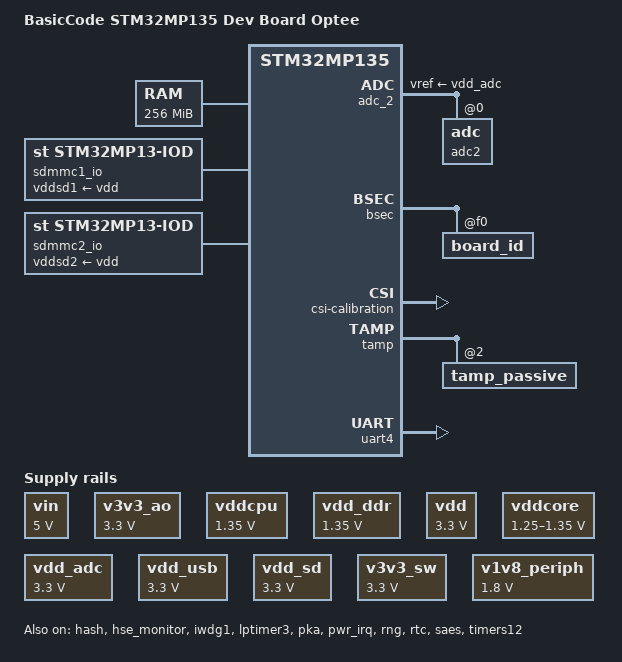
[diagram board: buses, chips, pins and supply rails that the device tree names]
// SPDX-License-Identifier: (GPL-2.0+ OR BSD-3-Clause)
/*
 * Copyright (C) STMicroelectronics 2021-2022 - All Rights Reserved
 * Author: Alexandre Torgue <alexandre.torgue@foss.st.com> for STMicroelectronics.
 */

/dts-v1/;

#include <dt-bindings/clock/stm32mp13-clksrc.h>
#include <dt-bindings/power/stm32mp1-power.h>
#include <dt-bindings/random/stm32mp-rng.h>
#include <dt-bindings/regulator/st,stm32mp13-regulator.h>
#include <dt-bindings/soc/stm32mp-tzc400-macro.h>
#include <dt-bindings/soc/stm32mp13-etzpc.h>
#include <dt-bindings/soc/stm32mp13-tzc400.h>
#include "stm32mp135.dtsi"
#include "stm32mp13xf.dtsi"
#include "stm32mp13-pinctrl.dtsi"

/ {
	model = "BasicCode STM32MP135 Dev Board Optee";
	compatible = "st,stm32mp135";

	aliases {
		serial0 = &uart4;
		serial1 = &usart1;
	};

	chosen {
		stdout-path = "serial0:115200n8";
	};

	magic_wol: magic_wol {
		compatible = "st,stm32mp1,pwr-irq-user";
		wakeup-parent = <&pwr_irq>;
		st,wakeup-pin-number = <2>;
		status = "okay";
	};

	memory@c0000000 {
		device_type = "memory";
		reg = <0xc0000000 0x10000000>;
	};

	reserved-memory {
		#address-cells = <1>;
		#size-cells = <1>;
		ranges;

		optee_framebuffer: optee-framebuffer@cd000000 {
			// Secure framebuffer memory
			reg = <0xcd000000 0x1000000>;
			st,protreg = <TZC_REGION_S_RDWR 0>;
		};
	};


    /*
     * Dummy regulators because no PMIC
     */
	
	sdmmc1_io: sdmmc1_io {
		compatible = "st,stm32mp13-iod";
		regulator-name = "sdmmc1_io";
		regulator-always-on;
	};

	sdmmc2_io: sdmmc2_io {
		compatible = "st,stm32mp13-iod";
		regulator-name = "sdmmc2_io";
		regulator-always-on;
	};

	vin: vin {
		compatible = "regulator-fixed";
		regulator-name = "vin";
		regulator-min-microvolt = <5000000>;
		regulator-max-microvolt = <5000000>;
		regulator-always-on;
	};

	v3v3_ao: v3v3_ao {
		compatible = "regulator-fixed";
		regulator-name = "v3v3_ao";
		regulator-min-microvolt = <3300000>;
		regulator-max-microvolt = <3300000>;
		regulator-always-on;
	};

    vddcpu: vddcpu {
        compatible = "regulator-fixed";
        regulator-name = "vddcpu";
        regulator-min-microvolt = <1350000>;
        regulator-max-microvolt = <1350000>;
        regulator-always-on;
    };

    vdd_ddr: vdd_ddr {
        compatible = "regulator-fixed";
        regulator-name = "vdd_ddr";
        regulator-min-microvolt = <1350000>;
        regulator-max-microvolt = <1350000>;
        regulator-always-on;
    };

    vdd: vdd {
        compatible = "regulator-fixed";
        regulator-name = "vdd";
        regulator-min-microvolt = <3300000>;
        regulator-max-microvolt = <3300000>;
        regulator-always-on;
    };

    vddcore: vddcore {
        compatible = "regulator-fixed";
        regulator-name = "vddcore";
        regulator-min-microvolt = <1250000>;
        regulator-max-microvolt = <1350000>;
        regulator-always-on;
    };

    vdd_adc: vdd_adc {
        compatible = "regulator-fixed";
        regulator-name = "vdd_adc";
        regulator-min-microvolt = <3300000>;
        regulator-max-microvolt = <3300000>;
        regulator-always-on;
    };

    vdd_usb: vdd_usb {
        compatible = "regulator-fixed";
        regulator-name = "vdd_usb";
        regulator-min-microvolt = <3300000>;
        regulator-max-microvolt = <3300000>;
        regulator-always-on;
    };

    vdd_sd: vdd_sd {
        compatible = "regulator-fixed";
        regulator-name = "vdd_sd";
        regulator-min-microvolt = <3300000>;
        regulator-max-microvolt = <3300000>;
        regulator-always-on;
    };

    v3v3_sw: v3v3_sw {
        compatible = "regulator-fixed";
        regulator-name = "v3v3_sw";
        regulator-min-microvolt = <3300000>;
        regulator-max-microvolt = <3300000>;
        regulator-always-on;
    };

    v1v8_periph: v1v8_periph {
        compatible = "regulator-fixed";
        regulator-name = "v1v8_periph";
        regulator-min-microvolt = <1800000>;
        regulator-max-microvolt = <1800000>;
        regulator-always-on;
    };

	typec_wakeup: typec_wakeup {
		compatible = "st,stm32mp1,pwr-irq-user";
		wakeup-parent = <&pwr_irq>;
		/* Alert pin on PI2, wakeup_pin_5 */
		st,wakeup-pin-number = <5>;
		st,notif-it-id = <1>;
		status = "okay";
	};
};


&adc_2 {
	vdda-supply = <&vdd_adc>;
	vref-supply = <&vdd_adc>;
	status = "okay";

	adc2: adc@0 {
		status = "okay";

		channel@15 {
			reg = <15>;
			label = "vbat";
		};
	};
};

&bsec {
	board_id: board_id@f0 {
		reg = <0xf0 0x4>;
		st,non-secure-otp;
	};
};

&cpu0 {
	cpu-supply = <&vddcpu>;
};

&etzpc {
	st,decprot = <
		DECPROT(STM32MP1_ETZPC_ADC1_ID, DECPROT_NS_RW, DECPROT_UNLOCK)
		DECPROT(STM32MP1_ETZPC_ADC2_ID, DECPROT_S_RW, DECPROT_UNLOCK)
		DECPROT(STM32MP1_ETZPC_BKPSRAM_ID, DECPROT_S_RW, DECPROT_UNLOCK)
		DECPROT(STM32MP1_ETZPC_CRYP_ID, DECPROT_NS_RW, DECPROT_UNLOCK)
		DECPROT(STM32MP1_ETZPC_DCMIPP_ID, DECPROT_NS_RW, DECPROT_UNLOCK)
		DECPROT(STM32MP1_ETZPC_DDRCTRLPHY_ID, DECPROT_NS_R_S_W, DECPROT_UNLOCK)
		DECPROT(STM32MP1_ETZPC_ETH1_ID, DECPROT_NS_RW, DECPROT_UNLOCK)
		DECPROT(STM32MP1_ETZPC_ETH2_ID, DECPROT_NS_RW, DECPROT_UNLOCK)
		DECPROT(STM32MP1_ETZPC_FMC_ID, DECPROT_NS_RW, DECPROT_UNLOCK)
		DECPROT(STM32MP1_ETZPC_HASH_ID, DECPROT_S_RW, DECPROT_UNLOCK)
		DECPROT(STM32MP1_ETZPC_I2C3_ID, DECPROT_NS_RW, DECPROT_UNLOCK)
		DECPROT(STM32MP1_ETZPC_I2C4_ID, DECPROT_S_RW, DECPROT_UNLOCK)
		DECPROT(STM32MP1_ETZPC_I2C5_ID, DECPROT_NS_RW, DECPROT_UNLOCK)
		DECPROT(STM32MP1_ETZPC_IWDG1_ID, DECPROT_S_RW, DECPROT_UNLOCK)
		DECPROT(STM32MP1_ETZPC_LPTIM2_ID, DECPROT_NS_RW, DECPROT_UNLOCK)
		DECPROT(STM32MP1_ETZPC_LPTIM3_ID, DECPROT_S_RW, DECPROT_UNLOCK)
		DECPROT(STM32MP1_ETZPC_LTDC_ID, DECPROT_NS_RW, DECPROT_UNLOCK)
		DECPROT(STM32MP1_ETZPC_MCE_ID, DECPROT_S_RW, DECPROT_UNLOCK)
		DECPROT(STM32MP1_ETZPC_OTG_ID, DECPROT_NS_RW, DECPROT_UNLOCK)
		DECPROT(STM32MP1_ETZPC_PKA_ID, DECPROT_S_RW, DECPROT_UNLOCK)
		DECPROT(STM32MP1_ETZPC_QSPI_ID, DECPROT_NS_RW, DECPROT_UNLOCK)
		DECPROT(STM32MP1_ETZPC_RNG_ID, DECPROT_S_RW, DECPROT_UNLOCK)
		DECPROT(STM32MP1_ETZPC_SAES_ID, DECPROT_S_RW, DECPROT_UNLOCK)
		DECPROT(STM32MP1_ETZPC_SDMMC1_ID, DECPROT_NS_RW, DECPROT_UNLOCK)
		DECPROT(STM32MP1_ETZPC_SDMMC2_ID, DECPROT_NS_RW, DECPROT_UNLOCK)
		DECPROT(STM32MP1_ETZPC_SPI4_ID, DECPROT_NS_RW, DECPROT_UNLOCK)
		DECPROT(STM32MP1_ETZPC_SPI5_ID, DECPROT_NS_RW, DECPROT_UNLOCK)
		DECPROT(STM32MP1_ETZPC_SRAM1_ID, DECPROT_NS_RW, DECPROT_UNLOCK)
		DECPROT(STM32MP1_ETZPC_SRAM2_ID, DECPROT_NS_RW, DECPROT_UNLOCK)
		DECPROT(STM32MP1_ETZPC_SRAM3_ID, DECPROT_S_RW, DECPROT_UNLOCK)
		DECPROT(STM32MP1_ETZPC_STGENC_ID, DECPROT_S_RW, DECPROT_UNLOCK)
		DECPROT(STM32MP1_ETZPC_TIM12_ID, DECPROT_S_RW, DECPROT_UNLOCK)
		DECPROT(STM32MP1_ETZPC_TIM13_ID, DECPROT_NS_RW, DECPROT_UNLOCK)
		DECPROT(STM32MP1_ETZPC_TIM14_ID, DECPROT_NS_RW, DECPROT_UNLOCK)
		DECPROT(STM32MP1_ETZPC_TIM15_ID, DECPROT_S_RW, DECPROT_UNLOCK)
		DECPROT(STM32MP1_ETZPC_TIM16_ID, DECPROT_NS_RW, DECPROT_UNLOCK)
		DECPROT(STM32MP1_ETZPC_TIM17_ID, DECPROT_NS_RW, DECPROT_UNLOCK)
		DECPROT(STM32MP1_ETZPC_USART1_ID, DECPROT_NS_RW, DECPROT_UNLOCK)
		DECPROT(STM32MP1_ETZPC_USART2_ID, DECPROT_NS_RW, DECPROT_UNLOCK)
		DECPROT(STM32MP1_ETZPC_USBPHYCTRL_ID, DECPROT_NS_RW, DECPROT_UNLOCK)
		DECPROT(STM32MP1_ETZPC_VREFBUF_ID, DECPROT_NS_RW, DECPROT_UNLOCK)
	>;
};

&gpiob {
	st,protreg = < (TZPROT(9)) >;
};

&gpiod {
	st,protreg = < (TZPROT(7)) >;
};

&gpioe {
	//st,protreg = < (TZPROT(15)) >;
};

&gpioi {
	st,protreg = < (TZPROT(2)|TZPROT(3)) >;
};

&hash {
	status = "okay";
};

&hse_monitor {
	status = "okay";
};

&iwdg1 {
	timeout-sec = <32>;
	status = "okay";
};

&lptimer3 {
	status = "okay";

	counter {
		status = "okay";
	};
};

&oem_enc_key {
	st,non-secure-otp-provisioning;
};

&osc_calibration {
	csi-calibration {
		status = "okay";
	};

	hsi-calibration {
		status = "okay";
	};
};

&pka {
	status = "okay";
};

&pwr_irq {
	pinctrl-names = "default";
	pinctrl-0 = <&wakeup_pins>;
	status = "okay";
};

&pwr_regulators {
	system_suspend_supported_soc_modes = <
		STM32_PM_CSLEEP_RUN
		STM32_PM_CSTOP_ALLOW_LP_STOP
		STM32_PM_CSTOP_ALLOW_LPLV_STOP
		STM32_PM_CSTOP_ALLOW_LPLV_STOP2
		STM32_PM_CSTOP_ALLOW_STANDBY_DDR_SR
	>;

	system_off_soc_mode = <STM32_PM_SHUTDOWN>;
	vdd-supply = <&vdd>;
	vdd_3v3_usbfs-supply = <&vdd_usb>;
};

&rcc {
	compatible = "st,stm32mp13-rcc", "syscon", "st,stm32mp13-rcc-mco";
	pinctrl-0 = <&rcc_mco_pins_a>;
	pinctrl-names = "default";

	st,clksrc = <
		CLK_MPU_PLL1P
		CLK_AXI_PLL2P
		CLK_MLAHBS_PLL3
		CLK_RTC_LSE
		CLK_MCO1_HSE
		CLK_MCO2_DISABLED
		CLK_CKPER_HSE
		CLK_ETH1_PLL4P
		CLK_ETH2_PLL4P
		CLK_SDMMC1_PLL4P
		CLK_SDMMC2_PLL4P
		CLK_STGEN_HSE
		CLK_USBPHY_HSE
		CLK_I2C4_HSI
		CLK_I2C5_HSI
		CLK_USBO_USBPHY
		CLK_ADC2_CKPER
		CLK_I2C12_HSI
		CLK_UART1_HSI
		CLK_UART2_HSI
		CLK_UART35_HSI
		CLK_UART4_HSI
		CLK_UART6_HSI
		CLK_UART78_HSI
		CLK_SAES_AXI
		CLK_DCMIPP_PLL2Q
		CLK_LPTIM3_PCLK3
		CLK_RNG1_PLL4R
	>;

	st,clkdiv = <
		DIV(DIV_MPU, 1)
		DIV(DIV_AXI, 0)
		DIV(DIV_MLAHB, 0)
		DIV(DIV_APB1, 1)
		DIV(DIV_APB2, 1)
		DIV(DIV_APB3, 1)
		DIV(DIV_APB4, 1)
		DIV(DIV_APB5, 2)
		DIV(DIV_APB6, 1)
		DIV(DIV_RTC, 0)
		DIV(DIV_MCO1, 0)
		DIV(DIV_MCO2, 0)
	>;

	st,pll_vco {
		pll1_vco_2000Mhz: pll1-vco-2000Mhz {
			src = <CLK_PLL12_HSE>;
			divmn = <1 82>;
			frac = <0xAAA>;
		};

		pll1_vco_1300Mhz: pll1-vco-1300Mhz {
			src = <CLK_PLL12_HSE>;
			divmn = <2 80>;
			frac = <0x800>;
		};

		pll2_vco_1066Mhz: pll2-vco-1066Mhz {
			src = <CLK_PLL12_HSE>;
			divmn = <2 65>;
			frac = <0x1400>;
		};

		pll3_vco_417Mhz: pll3-vco-417Mhz {
			src = <CLK_PLL3_HSE>;
			divmn = <1 33>;
			frac = <0x1a04>;
		};

		pll4_vco_600Mhz: pll4-vco-600Mhz {
			src = <CLK_PLL4_HSE>;
			divmn = <1 49>;
		};
	};

	/* VCO = 1300.0 MHz => P = 650 (CPU) */
	pll1: st,pll@0 {
		compatible = "st,stm32mp1-pll";
		reg = <0>;

		st,pll = <&pll1_cfg1>;

		pll1_cfg1: pll1_cfg1 {
			st,pll_vco = <&pll1_vco_1300Mhz>;
			st,pll_div_pqr = <0 1 1>;
		};

		pll1_cfg2: pll1_cfg2 {
			st,pll_vco = <&pll1_vco_2000Mhz>;
			st,pll_div_pqr = <0 1 1>;
		};
	};

	/* VCO = 1066.0 MHz => P = 266 (AXI), Q = 266, R = 533 (DDR) */
	pll2: st,pll@1 {
		compatible = "st,stm32mp1-pll";
		reg = <1>;

		st,pll = <&pll2_cfg1>;

		pll2_cfg1: pll2_cfg1 {
			st,pll_vco = <&pll2_vco_1066Mhz>;
			st,pll_div_pqr = <1 1 0>;
		};
	};

	/* VCO = 417.8 MHz => P = 209, Q = 24, R = 11 */
	pll3: st,pll@2 {
		compatible = "st,stm32mp1-pll";
		reg = <2>;

		st,pll = <&pll3_cfg1>;

		pll3_cfg1: pll3_cfg1 {
			st,pll_vco = <&pll3_vco_417Mhz>;
			st,pll_div_pqr = <1 16 36>;
		};
	};

	/* VCO = 600.0 MHz => P = 50, Q = 10, R = 50 */
	pll4: st,pll@3 {
		compatible = "st,stm32mp1-pll";
		reg = <3>;
		st,pll = <&pll4_cfg1>;

		pll4_cfg1: pll4_cfg1 {
			st,pll_vco = <&pll4_vco_600Mhz>;
			st,pll_div_pqr = <11 59 11>;
		};
	};

	st,clk_opp {
		/* CK_MPU clock config for MP13 */
		st,ck_mpu {
 			cfg_1 {
 				hz = < 1000000000 >;
 				st,clksrc = < CLK_MPU_PLL1P >;
 				st,pll = < &pll1_cfg2 >;
 			};
 			cfg_2 {
 				hz = < 650000000 >;
 				st,clksrc = < CLK_MPU_PLL1P >;
 				st,pll = < &pll1_cfg1 >;
 			};
		};
	};
};

&rng {
	status = "okay";
	clock-error-detect;
	st,rng-config = <RNG_CONFIG_NIST_B_ID>;
};

&rtc {
	status = "okay";
};

&saes {
	status = "okay";
};

&scmi_regu {
	scmi_vddcpu: voltd-vddcpu {
		reg = <VOLTD_SCMI_STPMIC1_BUCK1>;
		voltd-supply = <&vddcpu>;
	};
	scmi_vdd: voltd-vdd {
		reg = <VOLTD_SCMI_STPMIC1_BUCK3>;
		voltd-supply = <&vdd>;
	};
	scmi_vddcore: voltd-vddcore {
		reg = <VOLTD_SCMI_STPMIC1_BUCK4>;
		voltd-supply = <&vddcore>;
	};
	scmi_vdd_adc: voltd-vdd_adc {
		reg = <VOLTD_SCMI_STPMIC1_LDO1>;
		voltd-supply = <&vdd_adc>;
	};
	scmi_vdd_usb: voltd-vdd_usb {
		reg = <VOLTD_SCMI_STPMIC1_LDO4>;
		voltd-supply = <&vdd_usb>;
	};
	scmi_vdd_sd: voltd-vdd_sd {
		reg = <VOLTD_SCMI_STPMIC1_LDO5>;
		voltd-supply = <&vdd_sd>;
	};
	scmi_v1v8_periph: voltd-v1v8_periph {
		reg = <VOLTD_SCMI_STPMIC1_LDO6>;
		voltd-supply = <&v1v8_periph>;
	};
	scmi_v3v3_sw: voltd-v3v3_sw {
		reg = <VOLTD_SCMI_STPMIC1_PWR_SW2>;
		voltd-supply = <&v3v3_sw>;
	};
};

&sdmmc1_io {
	vddsd1-supply = <&vdd>;
};

&sdmmc2_io {
	vddsd2-supply = <&vdd>;
};

&tamp {
	status = "okay";
	st,tamp_passive_nb_sample = <4>;
	st,tamp_passive_sample_clk_div = <16384>;
	wakeup-source;
	wakeup-parent = <&exti>;


	tamp_passive@2 {
		pinctrl-0 = <&tamp0_in2_pin_a>;
		status = "okay";
	};

	/* Connect pin8 and pin22 from CN8 */
	tamp_active@1 {
		pinctrl-0 = <&tamp0_in3_pin_a &tamp0_out1_pin_a>;
		status = "disabled";
	};
};

&timers12 {
	status = "okay";

	counter {
		status = "okay";
	};
};

&tzc400 {
	memory-region = <&optee_framebuffer>;
};

&uart4 {
	pinctrl-names = "default";
	pinctrl-0 = <&uart4_pins_a>;
	status = "okay";
};

&wakeup_pin_5 {
	bias-pull-up;
};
